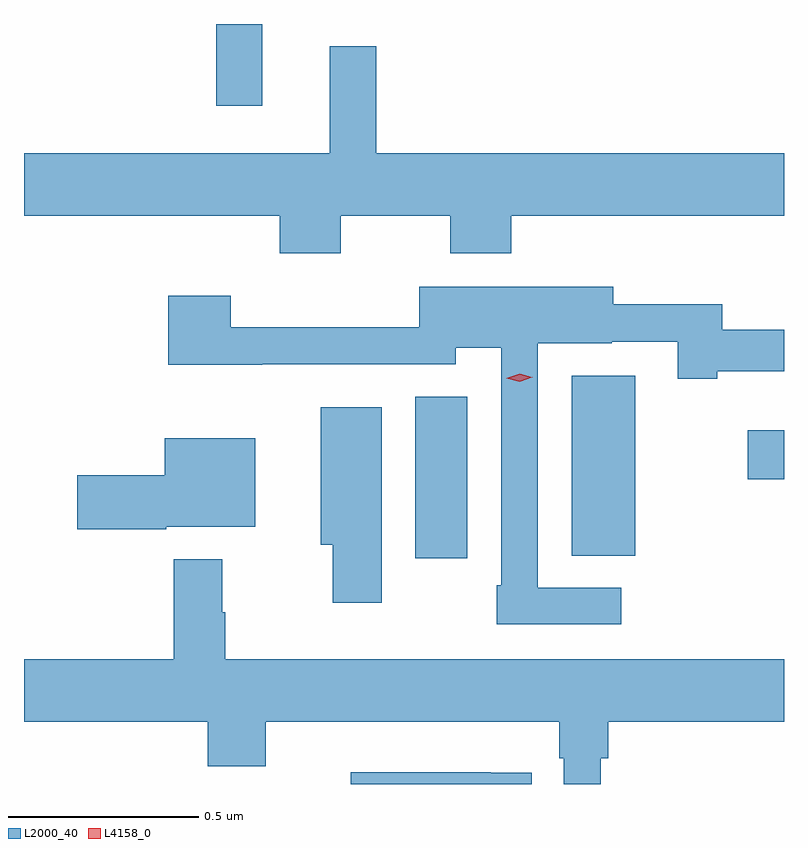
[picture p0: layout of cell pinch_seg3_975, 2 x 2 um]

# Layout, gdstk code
import gdstk
lib = gdstk.Library(unit=1e-6, precision=1e-09)
def R(c, l, rs):  # rectangles x0, y0, x1, y1
    for r in rs: c.add(gdstk.rectangle(r[:2], r[2:], *l))
def P(c, l, *ps):  # polygons
    for p in ps: c.add(gdstk.Polygon(p, *l))
L2000_40 = (2000, 40)
L4158_0 = (4158, 0)

pinch_seg3_975 = lib.new_cell('pinch_seg3_975')
R(pinch_seg3_975, L2000_40, [(415.766,719.994,415.903,720.419), (416.177,720.001,416.344,720.475), (416.64,720.202,416.736,720.331), (415.242,721.185,415.363,721.4)])
P(pinch_seg3_975, L2000_40, [(415.569,720.896),(415.858,720.896),(415.858,720.797),(416.018,720.797),(416.018,720.896),(416.736,720.896),(416.736,721.06),(415.663,721.06),(415.663,721.342),(415.541,721.342),(415.541,721.06),(414.736,721.06),(414.736,720.896),(415.409,720.896),(415.409,720.797),(415.569,720.797)],
  [(416.308,719.916),(416.088,719.916),(416.088,720.56),(416.283,720.56),(416.283,720.564),(416.457,720.564),(416.457,720.466),(416.56,720.466),(416.56,720.486),(416.736,720.486),(416.736,720.595),(416.573,720.595),(416.573,720.663),(416.287,720.663),(416.287,720.709),(415.776,720.709),(415.776,720.602),(415.28,720.602),(415.28,720.685),(415.115,720.685),(415.115,720.503),(415.363,720.503),(415.363,720.504),(415.872,720.504),(415.872,720.548),(415.992,720.548),(415.992,719.923),(415.98,719.923),(415.98,719.82),(416.308,719.82)],
  [(415.678,720.391),(415.517,720.391),(415.517,720.029),(415.549,720.029),(415.549,719.877),(415.678,719.877)],
  [(415.11,720.077),(415.345,720.077),(415.345,720.31),(415.106,720.31),(415.106,720.212),(414.876,720.212),(414.876,720.07),(415.11,720.07)],
  [(416.254,719.468),(416.273,719.468),(416.273,719.564),(416.736,719.564),(416.736,719.728),(415.265,719.728),(415.265,719.852),(415.258,719.852),(415.258,719.992),(415.13,719.992),(415.13,719.728),(414.736,719.728),(414.736,719.564),(415.22,719.564),(415.22,719.447),(415.372,719.447),(415.372,719.564),(416.144,719.564),(416.144,719.468),(416.157,719.468),(416.157,719.4),(416.254,719.4)],
  [(416.072,719.43),(415.964,719.43),(415.964,719.431),(415.596,719.431),(415.596,719.4),(416.072,719.4)])
P(pinch_seg3_975, L4158_0, [(416.04,720.459),(416.005,720.468),(416.005,720.468),(416.005,720.468),(416.04,720.479),(416.074,720.47),(416.075,720.47),(416.074,720.47)])

lib.write_gds('pinch_seg3_975.gds')
